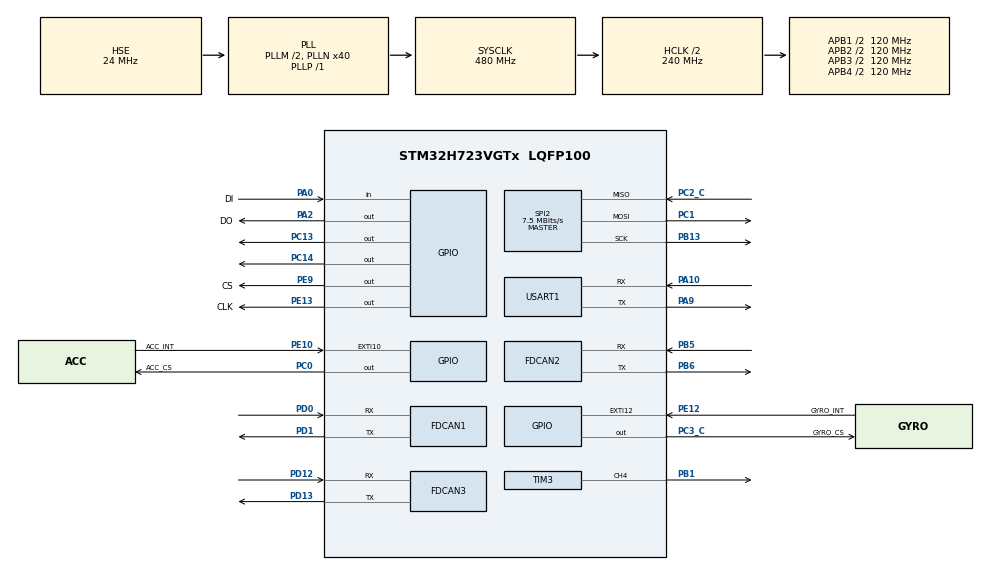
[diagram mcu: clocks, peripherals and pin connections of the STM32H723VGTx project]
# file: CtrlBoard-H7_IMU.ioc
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Dma.Request0=SPI2_RX
Dma.Request1=SPI2_TX
Dma.SPI2_RX.0.Direction=DMA_PERIPH_TO_MEMORY
Dma.SPI2_RX.0.EventEnable=DISABLE
Dma.SPI2_RX.0.FIFOMode=DMA_FIFOMODE_DISABLE
Dma.SPI2_RX.0.Instance=DMA1_Stream0
Dma.SPI2_RX.0.MemDataAlignment=DMA_MDATAALIGN_BYTE
Dma.SPI2_RX.0.MemInc=DMA_MINC_ENABLE
Dma.SPI2_RX.0.Mode=DMA_NORMAL
Dma.SPI2_RX.0.PeriphDataAlignment=DMA_PDATAALIGN_BYTE
Dma.SPI2_RX.0.PeriphInc=DMA_PINC_DISABLE
Dma.SPI2_RX.0.Polarity=HAL_DMAMUX_REQ_GEN_RISING
Dma.SPI2_RX.0.Priority=DMA_PRIORITY_VERY_HIGH
Dma.SPI2_RX.0.RequestNumber=1
Dma.SPI2_RX.0.SignalID=NONE
Dma.SPI2_RX.0.SyncEnable=DISABLE
Dma.SPI2_RX.0.SyncPolarity=HAL_DMAMUX_SYNC_NO_EVENT
Dma.SPI2_RX.0.SyncRequestNumber=1
Dma.SPI2_RX.0.SyncSignalID=NONE
Dma.SPI2_TX.1.Direction=DMA_MEMORY_TO_PERIPH
Dma.SPI2_TX.1.EventEnable=DISABLE
Dma.SPI2_TX.1.FIFOMode=DMA_FIFOMODE_DISABLE
Dma.SPI2_TX.1.Instance=DMA1_Stream1
Dma.SPI2_TX.1.MemDataAlignment=DMA_MDATAALIGN_BYTE
Dma.SPI2_TX.1.MemInc=DMA_MINC_ENABLE
Dma.SPI2_TX.1.Mode=DMA_NORMAL
Dma.SPI2_TX.1.PeriphDataAlignment=DMA_PDATAALIGN_BYTE
Dma.SPI2_TX.1.PeriphInc=DMA_PINC_DISABLE
Dma.SPI2_TX.1.Polarity=HAL_DMAMUX_REQ_GEN_RISING
Dma.SPI2_TX.1.Priority=DMA_PRIORITY_HIGH
Dma.SPI2_TX.1.RequestNumber=1
Dma.SPI2_TX.1.SignalID=NONE
Dma.SPI2_TX.1.SyncEnable=DISABLE
Dma.SPI2_TX.1.SyncPolarity=HAL_DMAMUX_SYNC_NO_EVENT
Dma.SPI2_TX.1.SyncRequestNumber=1
Dma.SPI2_TX.1.SyncSignalID=NONE
FDCAN1.CalculateBaudRateNominal=1000000
FDCAN1.CalculateTimeBitNominal=1000
FDCAN1.CalculateTimeQuantumNominal=40.0
FDCAN1.DataPrescaler=4
FDCAN1.DataTimeSeg1=19
FDCAN1.DataTimeSeg2=5
FDCAN1.ExtFiltersNbr=5
FDCAN1.NominalPrescaler=4
FDCAN1.NominalTimeSeg1=19
FDCAN1.NominalTimeSeg2=5
FDCAN1.RxFifo0ElmtSize=FDCAN_DATA_BYTES_24
FDCAN1.RxFifo0ElmtsNbr=4
FDCAN1.RxFifo1ElmtSize=FDCAN_DATA_BYTES_24
FDCAN1.StdFiltersNbr=5
FDCAN1.TxElmtSize=FDCAN_DATA_BYTES_24
FDCAN1.TxFifoQueueElmtsNbr=8
FDCAN2.CalculateBaudRateNominal=1000000
FDCAN2.CalculateTimeBitNominal=1000
FDCAN2.CalculateTimeQuantumNominal=50.0
FDCAN2.DataPrescaler=5
FDCAN2.DataTimeSeg1=14
FDCAN2.DataTimeSeg2=5
FDCAN2.ExtFiltersNbr=5
FDCAN2.MessageRAMOffset=854
FDCAN2.NominalPrescaler=5
FDCAN2.NominalTimeSeg1=14
FDCAN2.NominalTimeSeg2=5
FDCAN2.RxFifo1ElmtSize=FDCAN_DATA_BYTES_24
FDCAN2.RxFifo1ElmtsNbr=4
FDCAN2.StdFiltersNbr=5
FDCAN2.TxElmtSize=FDCAN_DATA_BYTES_16
FDCAN2.TxFifoQueueElmtsNbr=4
FDCAN3.CalculateBaudRateNominal=1000000
FDCAN3.CalculateTimeBitNominal=1000
FDCAN3.CalculateTimeQuantumNominal=50.0
FDCAN3.DataPrescaler=5
FDCAN3.DataTimeSeg1=14
FDCAN3.DataTimeSeg2=5
FDCAN3.ExtFiltersNbr=5
FDCAN3.MessageRAMOffset=1709
FDCAN3.NominalPrescaler=5
FDCAN3.NominalTimeSeg1=14
FDCAN3.NominalTimeSeg2=5
FDCAN3.RxFifo0ElmtsNbr=2
FDCAN3.StdFiltersNbr=5
FDCAN3.TxFifoQueueElmtsNbr=3
FREERTOS.MEMORY_ALLOCATION=0
FREERTOS.Tasks01=defaultTask,0,128,StartDefaultTask,Default,NULL,Dynamic,NULL,NULL;INS_TASK,3,512,INS_Task,Default,NULL,Dynamic,NULL,NULL;CHASSISR_TASK,1,512,ChassisR_Task,Default,NULL,Dynamic,NULL,NULL;CHASSISL_TASK,1,512,ChassisL_Task,Default,NULL,Dynamic,NULL,NULL;OBSERVE_TASK,2,512,OBSERVE_Task,Default,NULL,Dynamic,NULL,NULL;PS2_TASK,1,128,PS2_Task,Default,NULL,Dynamic,NULL,NULL
FREERTOS.configENABLE_FPU=1
FREERTOS.configTOTAL_HEAP_SIZE=30720
Mcu.Family=STM32H7
Mcu.Name=STM32H723VGTx
Mcu.Package=LQFP100
NVIC.DMA1_Stream0_IRQn=true\:6\:0\:true\:false\:true\:true\:false\:true\:true
NVIC.DMA1_Stream1_IRQn=true\:6\:0\:true\:false\:true\:true\:false\:true\:true
NVIC.FDCAN1_IT0_IRQn=true\:6\:0\:true\:false\:true\:true\:true\:true\:true
NVIC.FDCAN2_IT0_IRQn=true\:5\:0\:true\:false\:true\:true\:true\:true\:true
NVIC.FDCAN3_IT0_IRQn=true\:5\:0\:false\:false\:true\:true\:true\:true\:true
NVIC.PriorityGroup=NVIC_PRIORITYGROUP_4
NVIC.SPI2_IRQn=true\:5\:0\:true\:false\:true\:true\:false\:true\:true
NVIC.TIM2_IRQn=true\:15\:0\:false\:false\:true\:false\:false\:true\:true
NVIC.TimeBase=TIM2_IRQn
NVIC.TimeBaseIP=TIM2
PA0.GPIO_Label=DI
PA0.GPIO_PuPd=GPIO_PULLUP
PA0.Signal=GPIO_Input
PA10.Mode=Asynchronous
PA10.Signal=USART1_RX
PA13(JTMS/SWDIO).Mode=Serial_Wire
PA13(JTMS/SWDIO).Signal=DEBUG_JTMS-SWDIO
PA14(JTCK/SWCLK).Mode=Serial_Wire
PA14(JTCK/SWCLK).Signal=DEBUG_JTCK-SWCLK
PA2.GPIO_Label=DO
PA2.GPIO_PuPd=GPIO_PULLUP
PA2.GPIO_Speed=GPIO_SPEED_FREQ_VERY_HIGH
PA2.PinState=GPIO_PIN_SET
PA2.Signal=GPIO_Output
PA9.Mode=Asynchronous
PA9.Signal=USART1_TX
PB1.Signal=S_TIM3_CH4
PB13.GPIO_Speed=GPIO_SPEED_FREQ_VERY_HIGH
PB13.Mode=Full_Duplex_Master
PB13.Signal=SPI2_SCK
PB5.Mode=FDCAN_Activate
PB5.Signal=FDCAN2_RX
PB6.Mode=FDCAN_Activate
PB6.Signal=FDCAN2_TX
PC0.GPIO_Label=ACC_CS
PC0.GPIO_Speed=GPIO_SPEED_FREQ_VERY_HIGH
PC0.PinState=GPIO_PIN_SET
PC0.Signal=GPIO_Output
PC1.GPIO_Speed=GPIO_SPEED_FREQ_VERY_HIGH
PC1.Mode=Full_Duplex_Master
PC1.Signal=SPI2_MOSI
PC13.Signal=GPIO_Output
PC14-OSC32_IN.Signal=GPIO_Output
PC2_C.GPIO_Speed=GPIO_SPEED_FREQ_VERY_HIGH
PC2_C.Mode=Full_Duplex_Master
PC2_C.Signal=SPI2_MISO
PC3_C.GPIO_Label=GYRO_CS
PC3_C.GPIO_Speed=GPIO_SPEED_FREQ_VERY_HIGH
PC3_C.PinState=GPIO_PIN_SET
PC3_C.Signal=GPIO_Output
PD0.Mode=FDCAN_Activate
PD0.Signal=FDCAN1_RX
PD1.Mode=FDCAN_Activate
PD1.Signal=FDCAN1_TX
PD12.Mode=FDCAN_Activate
PD12.Signal=FDCAN3_RX
PD13.Mode=FDCAN_Activate
PD13.Signal=FDCAN3_TX
PE10.GPIO_Label=ACC_INT
PE10.Signal=GPXTI10
PE12.GPIO_Label=GYRO_INT
PE12.Signal=GPXTI12
PE13.GPIO_Label=CLK
PE13.GPIO_PuPd=GPIO_PULLUP
PE13.GPIO_Speed=GPIO_SPEED_FREQ_VERY_HIGH
PE13.PinState=GPIO_PIN_SET
PE13.Signal=GPIO_Output
PE9.GPIO_Label=CS
PE9.GPIO_PuPd=GPIO_PULLUP
PE9.GPIO_Speed=GPIO_SPEED_FREQ_VERY_HIGH
PE9.PinState=GPIO_PIN_SET
PE9.Signal=GPIO_Output
PH0-OSC_IN.Mode=HSE-External-Oscillator
PH0-OSC_IN.Signal=RCC_OSC_IN
PH1-OSC_OUT.Mode=HSE-External-Oscillator
PH1-OSC_OUT.Signal=RCC_OSC_OUT
ProjectManager.HeapSize=0x200
ProjectManager.StackSize=0x800
ProjectManager.TargetToolchain=MDK-ARM V5.27
RCC.ADCFreq_Value=100000000
RCC.APB1Freq_Value=120000000
RCC.APB2Freq_Value=120000000
RCC.APB3Freq_Value=120000000
RCC.APB4Freq_Value=120000000
RCC.CortexFreq_Value=480000000
RCC.D1PPRE=RCC_APB3_DIV2
RCC.D2PPRE1=RCC_APB1_DIV2
RCC.D2PPRE2=RCC_APB2_DIV2
RCC.D3PPRE=RCC_APB4_DIV2
RCC.DIVM1=2
RCC.DIVM2=24
RCC.DIVN1=40
RCC.DIVN2=200
RCC.DIVP1=1
RCC.FDCANCLockSelection=RCC_FDCANCLKSOURCE_PLL2
RCC.HCLKFreq_Value=240000000
RCC.HPRE=RCC_HCLK_DIV2
RCC.HSE_VALUE=24000000
RCC.PLL2FRACN=0
RCC.PLL3FRACN=0
RCC.PLLFRACN=0
RCC.PLLSourceVirtual=RCC_PLLSOURCE_HSE
RCC.SYSCLKFreq_VALUE=480000000
RCC.SYSCLKSource=RCC_SYSCLKSOURCE_PLLCLK
RCC.USBFreq_Value=240000000
SH.S_TIM3_CH4.0=TIM3_CH4,PWM Generation4 CH4
SPI2.BaudRatePrescaler=SPI_BAUDRATEPRESCALER_32
SPI2.CLKPhase=SPI_PHASE_2EDGE
SPI2.CLKPolarity=SPI_POLARITY_HIGH
SPI2.CalculateBaudRate=7.5 MBits/s
SPI2.DataSize=SPI_DATASIZE_8BIT
SPI2.Direction=SPI_DIRECTION_2LINES
SPI2.Mode=SPI_MODE_MASTER
SPI2.VirtualType=VM_MASTER
TIM3.AutoReloadPreload=TIM_AUTORELOAD_PRELOAD_ENABLE
TIM3.Channel-PWM\ Generation4\ CH4=TIM_CHANNEL_4
TIM3.Period=10000-1
TIM3.Prescaler=24-1
USART1.VirtualMode-Asynchronous=VM_ASYNC
VP_FREERTOS_VS_CMSIS_V1.Mode=CMSIS_V1
VP_MEMORYMAP_VS_MEMORYMAP.Mode=CurAppReg
VP_SYS_VS_tim2.Mode=TIM2
board=custom

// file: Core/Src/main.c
/* USER CODE BEGIN Header */
/**
  ******************************************************************************
  * @file           : main.c
  * @brief          : Main program body
  ******************************************************************************
  * @attention
  *
  * Copyright (c) 2024 STMicroelectronics.
  * All rights reserved.
  *
  * This software is licensed under terms that can be found in the LICENSE file
  * in the root directory of this software component.
  * If no LICENSE file comes with this software, it is provided AS-IS.
  *
  ******************************************************************************
  */
/* USER CODE END Header */
#include "main.h"
#include "cmsis_os.h"
#include "dma.h"
#include "fdcan.h"
#include "memorymap.h"
#include "spi.h"
#include "tim.h"
#include "usart.h"
#include "gpio.h"

/* USER CODE BEGIN Includes */
#include "BMI088driver.h"
#include "kalman_filter.h"
#include "mahony_filter.h"
#include "bsp_dwt.h"
#include "BMI088Middleware.h"
#include "can_bsp.h"
/* USER CODE END Includes */

void SystemClock_Config(void);
void PeriphCommonClock_Config(void);
void MX_FREERTOS_Init(void);

/* USER CODE BEGIN 0 */
const  uint8_t PS2_cmnd[9] = {0x01, 0x42, 0x00, 0x00, 0x00, 0x00, 0x00, 0x00, 0x00};   //??????????????
static uint8_t PS2_data[9] = {0};  //?????????

JOYSTICK_TypeDef my_joystick;

static uint8_t PS2_ReadWriteData(uint8_t data)
{
	uint8_t ref,res;

	for(ref = 0x01; ref > 0x00; ref <<= 1)
	{
		CLK_L();
		if(ref&data)
			CMD_H();
		else
			CMD_L();

		DWT_Delay(0.000016f);

		CLK_H();
		if(DI())
			res |= ref;

		DWT_Delay(0.000016f);
	}

	CMD_H();

	//???????????
    return res;
}

/**
  * @??  ??  PS2?????????????????
  * @??  ??  *JoystickStruct ??????????
  * @?????  ??
  */
void AX_PS2_ScanKey(JOYSTICK_TypeDef *JoystickStruct)
{
	uint8_t i;

	//??????
	CS_L();

	//???PS2????
	for(i=0; i<9; i++)
	{
		PS2_data[i] = PS2_ReadWriteData(PS2_cmnd[i]);
		DWT_Delay(0.000016f);
	}

	//??????
	CS_H();

	//???????
	JoystickStruct->mode = PS2_data[1];
	JoystickStruct->btn1 = ~PS2_data[3];
	JoystickStruct->btn2 = ~PS2_data[4];
	JoystickStruct->RJoy_LR = PS2_data[5];
	JoystickStruct->RJoy_UD = PS2_data[6];
	JoystickStruct->LJoy_LR = PS2_data[7];
	JoystickStruct->LJoy_UD = PS2_data[8];
}
/* USER CODE END 0 */

int main(void)
{

  /* MCU Configuration--------------------------------------------------------*/

  /* Reset of all peripherals, Initializes the Flash interface and the Systick. */
  HAL_Init();

  /* USER CODE BEGIN Init */
//06 01 00 00 00 00 00 00 00 00 00 00 00 00 80 3F
  /* USER CODE END Init */

  /* Configure the system clock */
  SystemClock_Config();

  /* Configure the peripherals common clocks */
  PeriphCommonClock_Config();

  /* Initialize all configured peripherals */
  MX_GPIO_Init();
  MX_DMA_Init();
  MX_SPI2_Init();
  MX_FDCAN1_Init();
  MX_FDCAN2_Init();
  MX_TIM3_Init();
  MX_FDCAN3_Init();
  MX_USART1_UART_Init();
  /* USER CODE BEGIN 2 */
	DWT_Init(480);

    /* BMI088��ʼ�� */
  while (BMI088_init(&hspi2, 0) != BMI088_NO_ERROR)
	{
	  ;
	}
	Power_OUT1_ON;//imu��ʼ����ɣ��ɿص�Դ�򿪣�led����
	Power_OUT2_ON;

  FDCAN1_Config();//can��������ʼ��
	FDCAN2_Config();
  /* USER CODE END 2 */

  /* Call init function for freertos objects (in cmsis_os2.c) */
  MX_FREERTOS_Init();

  /* Start scheduler */
  osKernelStart();

  /* We should never get here as control is now taken by the scheduler */

  /* Infinite loop */
  while (1)
  {

  }
}

void SystemClock_Config(void)
{
  RCC_OscInitTypeDef RCC_OscInitStruct = {0};
  RCC_ClkInitTypeDef RCC_ClkInitStruct = {0};

  /** Supply configuration update enable
  */
  HAL_PWREx_ConfigSupply(PWR_LDO_SUPPLY);

  /** Configure the main internal regulator output voltage
  */
  __HAL_PWR_VOLTAGESCALING_CONFIG(PWR_REGULATOR_VOLTAGE_SCALE0);

  while(!__HAL_PWR_GET_FLAG(PWR_FLAG_VOSRDY)) {}

  /** Initializes the RCC Oscillators according to the specified parameters
  * in the RCC_OscInitTypeDef structure.
  */
  RCC_OscInitStruct.OscillatorType = RCC_OSCILLATORTYPE_HSE;
  RCC_OscInitStruct.HSEState = RCC_HSE_ON;
  RCC_OscInitStruct.PLL.PLLState = RCC_PLL_ON;
  RCC_OscInitStruct.PLL.PLLSource = RCC_PLLSOURCE_HSE;
  RCC_OscInitStruct.PLL.PLLM = 2;
  RCC_OscInitStruct.PLL.PLLN = 40;
  RCC_OscInitStruct.PLL.PLLP = 1;
  RCC_OscInitStruct.PLL.PLLQ = 2;
  RCC_OscInitStruct.PLL.PLLR = 2;
  RCC_OscInitStruct.PLL.PLLRGE = RCC_PLL1VCIRANGE_3;
  RCC_OscInitStruct.PLL.PLLVCOSEL = RCC_PLL1VCOWIDE;
  RCC_OscInitStruct.PLL.PLLFRACN = 0;
  if (HAL_RCC_OscConfig(&RCC_OscInitStruct) != HAL_OK)
  {
    Error_Handler();
  }

  /** Initializes the CPU, AHB and APB buses clocks
  */
  RCC_ClkInitStruct.ClockType = RCC_CLOCKTYPE_HCLK|RCC_CLOCKTYPE_SYSCLK
                              |RCC_CLOCKTYPE_PCLK1|RCC_CLOCKTYPE_PCLK2
                              |RCC_CLOCKTYPE_D3PCLK1|RCC_CLOCKTYPE_D1PCLK1;
  RCC_ClkInitStruct.SYSCLKSource = RCC_SYSCLKSOURCE_PLLCLK;
  RCC_ClkInitStruct.SYSCLKDivider = RCC_SYSCLK_DIV1;
  RCC_ClkInitStruct.AHBCLKDivider = RCC_HCLK_DIV2;
  RCC_ClkInitStruct.APB3CLKDivider = RCC_APB3_DIV2;
  RCC_ClkInitStruct.APB1CLKDivider = RCC_APB1_DIV2;
  RCC_ClkInitStruct.APB2CLKDivider = RCC_APB2_DIV2;
  RCC_ClkInitStruct.APB4CLKDivider = RCC_APB4_DIV2;

  if (HAL_RCC_ClockConfig(&RCC_ClkInitStruct, FLASH_LATENCY_3) != HAL_OK)
  {
    Error_Handler();
  }
}

void PeriphCommonClock_Config(void)
{
  RCC_PeriphCLKInitTypeDef PeriphClkInitStruct = {0};

  /** Initializes the peripherals clock
  */
  PeriphClkInitStruct.PeriphClockSelection = RCC_PERIPHCLK_FDCAN;
  PeriphClkInitStruct.PLL2.PLL2M = 24;
  PeriphClkInitStruct.PLL2.PLL2N = 200;
  PeriphClkInitStruct.PLL2.PLL2P = 2;
  PeriphClkInitStruct.PLL2.PLL2Q = 2;
  PeriphClkInitStruct.PLL2.PLL2R = 2;
  PeriphClkInitStruct.PLL2.PLL2RGE = RCC_PLL2VCIRANGE_0;
  PeriphClkInitStruct.PLL2.PLL2VCOSEL = RCC_PLL2VCOMEDIUM;
  PeriphClkInitStruct.PLL2.PLL2FRACN = 0;
  PeriphClkInitStruct.FdcanClockSelection = RCC_FDCANCLKSOURCE_PLL2;
  if (HAL_RCCEx_PeriphCLKConfig(&PeriphClkInitStruct) != HAL_OK)
  {
    Error_Handler();
  }
}

void HAL_TIM_PeriodElapsedCallback(TIM_HandleTypeDef *htim)
{
  if (htim->Instance == TIM2)
  {
    HAL_IncTick();
  }
}

void Error_Handler(void)
{
  __disable_irq();
  while (1)
  {
  }
}

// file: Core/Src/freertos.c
/* USER CODE BEGIN Header */
/**
  ******************************************************************************
  * File Name          : freertos.c
  * Description        : Code for freertos applications
  ******************************************************************************
  * @attention
  *
  * Copyright (c) 2024 STMicroelectronics.
  * All rights reserved.
  *
  * This software is licensed under terms that can be found in the LICENSE file
  * in the root directory of this software component.
  * If no LICENSE file comes with this software, it is provided AS-IS.
  *
  ******************************************************************************
  */
/* USER CODE END Header */

#include "FreeRTOS.h"
#include "task.h"
#include "main.h"
#include "cmsis_os.h"

/* USER CODE BEGIN Includes */
#include "INS_task.h"
#include "chassisR_task.h"
#include "chassisL_task.h"
#include "observe_task.h"
#include "ps2_task.h"
/* USER CODE END Includes */

osThreadId defaultTaskHandle;
osThreadId INS_TASKHandle;
osThreadId CHASSISR_TASKHandle;
osThreadId CHASSISL_TASKHandle;
osThreadId OBSERVE_TASKHandle;
osThreadId PS2_TASKHandle;

void StartDefaultTask(void const * argument);
void INS_Task(void const * argument);
void ChassisR_Task(void const * argument);
void ChassisL_Task(void const * argument);
void OBSERVE_Task(void const * argument);
void PS2_Task(void const * argument);

void MX_FREERTOS_Init(void); /* (MISRA C 2004 rule 8.1) */

void MX_FREERTOS_Init(void) {

  /* Create the thread(s) */
  /* definition and creation of defaultTask */
  osThreadDef(defaultTask, StartDefaultTask, osPriorityNormal, 0, 128);
  defaultTaskHandle = osThreadCreate(osThread(defaultTask), NULL);

  /* definition and creation of INS_TASK */
  osThreadDef(INS_TASK, INS_Task, osPriorityRealtime, 0, 512);
  INS_TASKHandle = osThreadCreate(osThread(INS_TASK), NULL);

  /* definition and creation of CHASSISR_TASK */
  osThreadDef(CHASSISR_TASK, ChassisR_Task, osPriorityAboveNormal, 0, 512);
  CHASSISR_TASKHandle = osThreadCreate(osThread(CHASSISR_TASK), NULL);

  /* definition and creation of CHASSISL_TASK */
  osThreadDef(CHASSISL_TASK, ChassisL_Task, osPriorityAboveNormal, 0, 512);
  CHASSISL_TASKHandle = osThreadCreate(osThread(CHASSISL_TASK), NULL);

  /* definition and creation of OBSERVE_TASK */
  osThreadDef(OBSERVE_TASK, OBSERVE_Task, osPriorityHigh, 0, 512);
  OBSERVE_TASKHandle = osThreadCreate(osThread(OBSERVE_TASK), NULL);

  /* definition and creation of PS2_TASK */
  osThreadDef(PS2_TASK, PS2_Task, osPriorityAboveNormal, 0, 128);
  PS2_TASKHandle = osThreadCreate(osThread(PS2_TASK), NULL);

}

void StartDefaultTask(void const * argument)
{
  for(;;)
  {
    osDelay(1);
  }
}

void INS_Task(void const * argument)
{
  /* USER CODE BEGIN INS_Task */

  /* Infinite loop */
  for(;;)
  {
    INS_task();
  }
  /* USER CODE END INS_Task */
}

void ChassisR_Task(void const * argument)
{
  /* USER CODE BEGIN ChassisR_Task */
  /* Infinite loop */
  for(;;)
  {
    ChassisR_task();
  }
  /* USER CODE END ChassisR_Task */
}

void ChassisL_Task(void const * argument)
{
  /* USER CODE BEGIN ChassisL_Task */
  /* Infinite loop */
  for(;;)
  {
    ChassisL_task();
  }
  /* USER CODE END ChassisL_Task */
}

void OBSERVE_Task(void const * argument)
{
  /* USER CODE BEGIN OBSERVE_Task */
  /* Infinite loop */
  for(;;)
  {
    Observe_task();
  }
  /* USER CODE END OBSERVE_Task */
}

void PS2_Task(void const * argument)
{
  /* USER CODE BEGIN PS2_Task */
  /* Infinite loop */
  for(;;)
  {
    pstwo_task();
  }
  /* USER CODE END PS2_Task */
}
